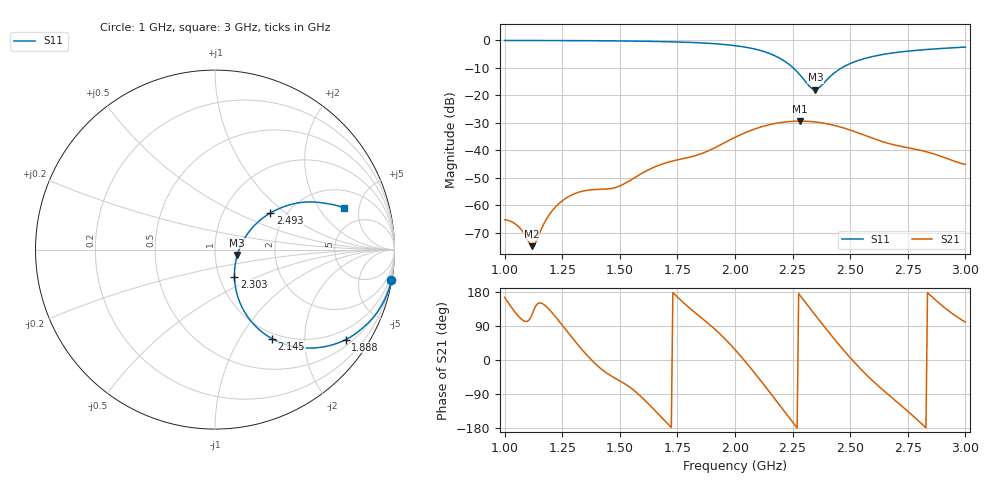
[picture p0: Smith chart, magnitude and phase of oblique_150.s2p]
! TOUCHSTONE file generated by CST MICROWAVE STUDIO
! Date and time: Tue Mar 18 00:02:24 2025
! Project name: oblique.cst
! Parameters = {Tilt=40; Fracture=1; B=10; D=160; F=25; Feed=2.85625; L=100; M=30; R=0.384908; S=1; Theta=270; length=57.125; wave=114.25}
! Header version: 2024
! Port assignment regex: !\s*Touchstone port\s*([0-9]+)\s*=\s*(CST MWS port|CST DES external port|CST DES block port)\s*(.+)\s* \(\"(.*)\"\)(\s*mode\s*([0-9]+))?.*
! Touchstone port assignment:
! Touchstone port 1 = CST MWS port 1 ("")
! Touchstone port 2 = CST MWS port 2 ("")
# GHz S DB R 50
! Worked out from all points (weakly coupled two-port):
!   305 points, 1 GHz to 3 GHz, reference 50 ohm
!   highest |S21| = -29.35 dB at 2.283 GHz (marker M1); lowest = -74.8 dB at 1.118 GHz (marker M2)
!   lowest |S11| = -17.9 dB at 2.349 GHz (marker M3), VSWR 1.29, Z = 64.1 - j3.89 ohm
!   |S11| at or under -10 dB: 2.253 GHz to 2.463 GHz (210 MHz wide, 8.91 % of centre)
!   S12 and S22 are empty: the file has one direction only
!   S11 on the Smith chart (normalised r, x): 1 GHz: 0, -12; 1.888 GHz: 0.67, -3.09; 2.145 GHz: 0.92, -1.39; 2.303 GHz: 1.18, -0.37; 2.493 GHz: 1.66, +0.78; 3 GHz: 3.23, +3.49
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1  -0.02 -9.8  -65.21 165.3  -200.00 0.0  -200.00 0.0
1.05921  -0.03 -10.6  -67.64 116.0  -200.00 0.0  -200.00 0.0
1.11842  -0.03 -11.5  -74.84 119.2  -200.00 0.0  -200.00 0.0
1.13158  -0.04 -11.7  -74.07 138.6  -200.00 0.0  -200.00 0.0
1.17763  -0.05 -12.4  -65.56 142.9  -200.00 0.0  -200.00 0.0
1.21711  -0.06 -13.0  -60.92 116.9  -200.00 0.0  -200.00 0.0
1.26974  -0.07 -14.0  -57.21 76.9  -200.00 0.0  -200.00 0.0
1.33553  -0.09 -15.2  -54.89 27.8  -200.00 0.0  -200.00 0.0
1.48684  -0.19 -18.6  -53.35 -50.4  -200.00 0.0  -200.00 0.0
1.67105  -0.41 -24.2  -45.35 -145.0  -200.00 0.0  -200.00 0.0
1.88816  -1.06 -34.5  -40.02 94.3  -200.00 0.0  -200.00 0.0
2  -1.91 -42.7  -35.27 27.4  -200.00 0.0  -200.00 0.0
2.14474  -4.59 -57.4  -30.75 -80.3  -200.00 0.0  -200.00 0.0
2.21711  -7.66 -64.1  -29.67 -137.6  -200.00 0.0  -200.00 0.0
2.28289  -12.61 -61.0  -29.35 169.9  -200.00 0.0  -200.00 0.0
2.30263  -14.63 -54.3  -29.38 154.3  -200.00 0.0  -200.00 0.0
2.33553  -17.58 -28.5  -29.55 128.4  -200.00 0.0  -200.00 0.0
2.34868  -17.87 -13.5  -29.66 118.1  -200.00 0.0  -200.00 0.0
2.43421  -11.62 31.7  -30.97 52.9  -200.00 0.0  -200.00 0.0
2.49342  -8.65 33.5  -32.42 10.6  -200.00 0.0  -200.00 0.0
2.67105  -4.73 27.2  -37.59 -94.2  -200.00 0.0  -200.00 0.0
3  -2.44 17.9  -45.14 99.9  -200.00 0.0  -200.00 0.0
